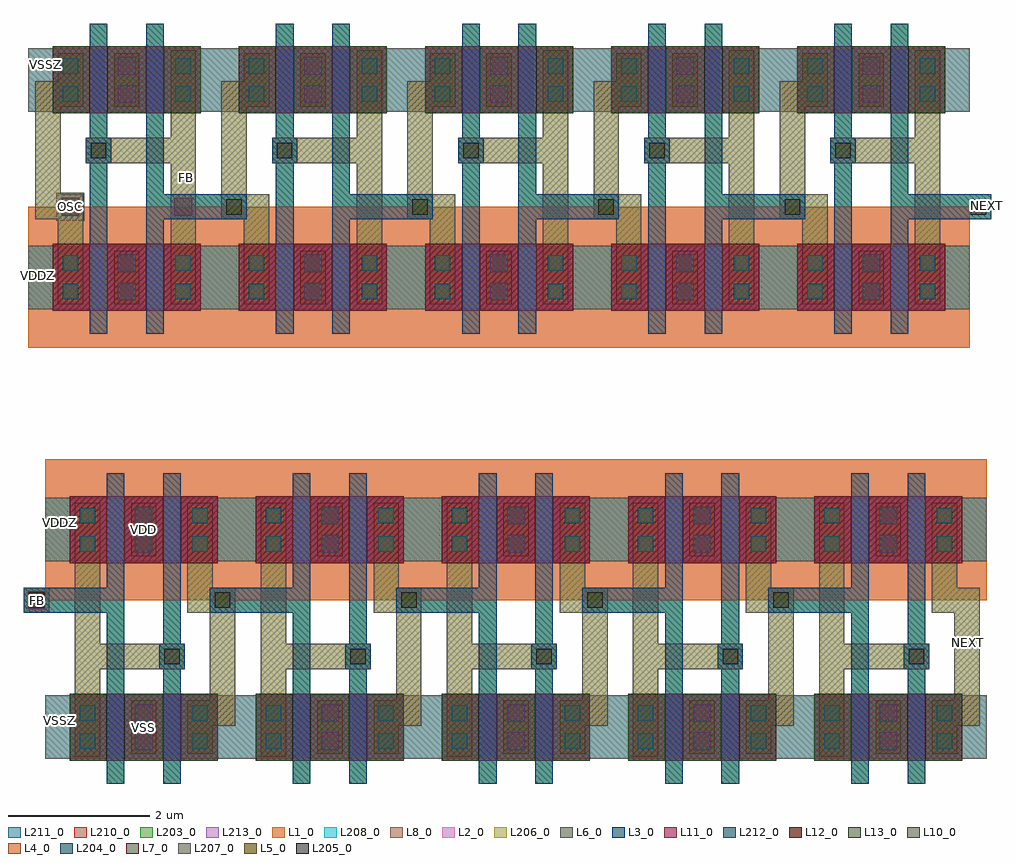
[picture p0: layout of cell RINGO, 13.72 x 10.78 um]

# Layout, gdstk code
from math import pi, radians
import gdstk
lib = gdstk.Library(unit=1e-6, precision=1e-09)
def R(c, l, rs):  # rectangles x0, y0, x1, y1
    for r in rs: c.add(gdstk.rectangle(r[:2], r[2:], *l))
def P(c, l, *ps):  # polygons
    for p in ps: c.add(gdstk.Polygon(p, *l))
L1_0 = (1, 0)
L2_0 = (2, 0)
L3_0 = (3, 0)
L4_0 = (4, 0)
L5_0 = (5, 0)
L6_0 = (6, 0)
L7_0 = (7, 0)
L8_0 = (8, 0)
L10_0 = (10, 0)
L11_0 = (11, 0)
L12_0 = (12, 0)
L13_0 = (13, 0)
L203_0 = (203, 0)
L204_0 = (204, 0)
L205_0 = (205, 0)
L206_0 = (206, 0)
L207_0 = (207, 0)
L208_0 = (208, 0)
L210_0 = (210, 0)
L211_0 = (211, 0)
L212_0 = (212, 0)
L213_0 = (213, 0)

net_trans__1 = lib.new_cell('NET_TRANS_$1')
R(net_trans__1, L204_0, [(-0.51,-0.31,-0.29,-0.09), (-0.51,0.09,-0.29,0.31)])
R(net_trans__1, L206_0, [(-0.58,-0.38,-0.22,0.38)])

net_trans__2 = lib.new_cell('NET_TRANS_$2')
R(net_trans__2, L204_0, [(0.29,-0.31,0.51,-0.09), (0.29,0.09,0.51,0.31)])
R(net_trans__2, L206_0, [(0.22,-0.38,0.58,0.38)])

net_trans__3 = lib.new_cell('NET_TRANS_$3')
R(net_trans__3, L203_0, [(-0.125,-0.8,0.125,0.8)])

trans = lib.new_cell('TRANS')
R(trans, L2_0, [(-0.65,-0.475,0.65,0.475)])
R(trans, L4_0, [(-0.51,-0.31,-0.29,-0.09), (0.29,-0.31,0.51,-0.09), (-0.51,0.09,-0.29,0.31), (0.29,0.09,0.51,0.31)])
R(trans, L6_0, [(-0.58,-0.38,-0.22,0.38), (0.22,-0.38,0.58,0.38)])
trans.add(gdstk.FlexPath([(0,-0.8),(0,0.8)], 0.25, ends="flush", simple_path=True, layer=3, datatype=0))  # L3_0
trans.add(gdstk.Reference(net_trans__1, (0,0)))
trans.add(gdstk.Reference(net_trans__2, (0,0)))
trans.add(gdstk.Reference(net_trans__3, (0,0)))

d_nmos = lib.new_cell('D$NMOS')
R(d_nmos, L203_0, [(-0.125,-0.475,0.125,0.475)])
R(d_nmos, L211_0, [(-0.65,-0.475,-0.125,0.475), (0.125,-0.475,0.675,0.475)])
R(d_nmos, L212_0, [(-0.125,-0.475,0.125,0.475)])

d_pmos = lib.new_cell('D$PMOS')
R(d_pmos, L203_0, [(-0.125,-0.475,0.125,0.475)])
R(d_pmos, L210_0, [(-0.65,-0.475,-0.125,0.475), (0.125,-0.475,0.675,0.475)])
R(d_pmos, L213_0, [(-0.125,-0.475,0.125,0.475)])

net_inv2_in = lib.new_cell('NET_INV2_IN')
R(net_inv2_in, L203_0, [(-0.525,-0.25,-0.275,2.25), (-1.7,1.62,-0.4,1.98)])
R(net_inv2_in, L205_0, [(-1.63,1.69,-1.41,1.91)])
net_inv2_in.add(gdstk.Reference(d_nmos, (-0.4,0)))
net_inv2_in.add(gdstk.Reference(d_pmos, (-0.4,2.8)))

d_pmos_1 = lib.new_cell('D$PMOS$1')
R(d_pmos_1, L203_0, [(-0.125,-0.475,0.125,0.475)])
R(d_pmos_1, L210_0, [(-0.675,-0.475,-0.125,0.475), (0.125,-0.475,0.65,0.475)])
R(d_pmos_1, L213_0, [(-0.125,-0.475,0.125,0.475)])

d_nmos_1 = lib.new_cell('D$NMOS$1')
R(d_nmos_1, L203_0, [(-0.125,-0.475,0.125,0.475)])
R(d_nmos_1, L211_0, [(-0.675,-0.475,-0.125,0.475), (0.125,-0.475,0.65,0.475)])
R(d_nmos_1, L212_0, [(-0.125,-0.475,0.125,0.475)])

net_inv2__2 = lib.new_cell('NET_INV2_$2')
R(net_inv2__2, L203_0, [(0.275,-0.25,0.525,2.25), (0.22,0.82,0.58,1.18)])
R(net_inv2__2, L205_0, [(0.29,0.89,0.51,1.11)])
R(net_inv2__2, L206_0, [(-0.98,-0.42,-0.62,2.42), (-0.8,0.82,0.58,1.18)])
R(net_inv2__2, L210_0, [(-1.05,2.325,-0.525,3.275)])
R(net_inv2__2, L211_0, [(-1.05,-0.475,-0.525,0.475)])
net_inv2__2.add(gdstk.Reference(d_pmos_1, (0.4,2.8)))
net_inv2__2.add(gdstk.Reference(d_nmos_1, (0.4,0)))
net_inv2__2.add(gdstk.Reference(d_pmos, (-0.4,2.8)))
net_inv2__2.add(gdstk.Reference(d_nmos, (-0.4,0)))

net_inv2_out = lib.new_cell('NET_INV2_OUT')
P(net_inv2_out, L206_0, [(0.8,0.02),(0.8,0.38),(0.94,0.38),(0.94,1.62),(0.62,1.62),(0.62,2.42),(0.98,2.42),(0.98,1.98),(1.3,1.98),(1.3,0.02)])
R(net_inv2_out, L210_0, [(0.525,2.325,1.05,3.275)])
R(net_inv2_out, L211_0, [(0.525,-0.475,1.05,0.475)])
net_inv2_out.add(gdstk.Reference(d_pmos_1, (0.4,2.8)))
net_inv2_out.add(gdstk.Reference(d_nmos_1, (0.4,0)))

net_inv2_vdd = lib.new_cell('NET_INV2_VDD')
R(net_inv2_vdd, L207_0, [(-0.125,2.475,0.125,2.725), (-0.125,2.875,0.125,3.125)])
R(net_inv2_vdd, L208_0, [(-1.4,2.35,1.4,3.25), (-1.171,2.749,-1.169,2.751)])
R(net_inv2_vdd, L210_0, [(-0.275,2.325,0.275,3.275)])
R(net_inv2_vdd, L213_0, [(-1.4,1.8,1.4,3.8)])
net_inv2_vdd.add(gdstk.Reference(d_pmos, (-0.4,2.8)))
net_inv2_vdd.add(gdstk.Reference(d_pmos_1, (0.4,2.8)))
net_inv2_vdd.add(gdstk.Reference(d_pmos, (-0.4,2.8)))
net_inv2_vdd.add(gdstk.Reference(d_pmos_1, (0.4,2.8)))

net_inv2_vss = lib.new_cell('NET_INV2_VSS')
R(net_inv2_vss, L207_0, [(-0.125,-0.325,0.125,-0.075), (-0.125,0.075,0.125,0.325)])
R(net_inv2_vss, L208_0, [(-1.4,-0.45,1.4,0.45), (-1.181,0.019,-1.179,0.021)])
R(net_inv2_vss, L211_0, [(-0.275,-0.475,0.275,0.475)])
net_inv2_vss.add(gdstk.Reference(d_nmos, (-0.4,0)))
net_inv2_vss.add(gdstk.Reference(d_nmos_1, (0.4,0)))
net_inv2_vss.add(gdstk.Reference(d_nmos, (-0.4,0)))
net_inv2_vss.add(gdstk.Reference(d_nmos_1, (0.4,0)))

inv2 = lib.new_cell('INV2')
R(inv2, L1_0, [(-1.4,1.8,1.4,3.8)])
R(inv2, L3_0, [(-0.525,-0.25,-0.275,2.25), (0.275,-0.25,0.525,2.25), (0.22,0.82,0.58,1.18), (-1.7,1.62,-0.4,1.98)])
R(inv2, L5_0, [(0.29,0.89,0.51,1.11), (-1.63,1.69,-1.41,1.91)])
R(inv2, L6_0, [(-0.98,-0.42,-0.62,2.42), (-0.8,0.82,0.58,1.18)])
R(inv2, L7_0, [(-0.125,-0.325,0.125,-0.075), (-0.125,0.075,0.125,0.325), (-0.125,2.475,0.125,2.725), (-0.125,2.875,0.125,3.125)])
R(inv2, L8_0, [(-1.4,-0.45,1.4,0.45), (-1.4,2.35,1.4,3.25)])
R(inv2, L10_0, [(-0.525,-0.475,-0.275,0.475), (0.275,-0.475,0.525,0.475), (-0.525,2.325,-0.275,3.275), (0.275,2.325,0.525,3.275)])
R(inv2, L11_0, [(-1.05,-0.475,-0.525,0.475), (-0.275,-0.475,0.275,0.475), (0.525,-0.475,1.05,0.475), (-1.05,2.325,-0.525,3.275), (-0.275,2.325,0.275,3.275), (0.525,2.325,1.05,3.275)])
R(inv2, L12_0, [(-1.05,2.325,-0.525,3.275), (-0.275,2.325,0.275,3.275), (0.525,2.325,1.05,3.275)])
R(inv2, L13_0, [(-1.05,-0.475,-0.525,0.475), (-0.275,-0.475,0.275,0.475), (0.525,-0.475,1.05,0.475)])
inv2.add(gdstk.FlexPath([(0.8,0.2),(1.12,0.2),(1.12,1.8),(0.8,1.8),(0.8,2.42)], 0.36, ends="flush", simple_path=True, layer=6, datatype=0))  # L6_0
inv2.add(gdstk.Reference(trans, (-0.4,0)))
inv2.add(gdstk.Reference(trans, (-0.4,2.8)))
inv2.add(gdstk.Reference(trans, (0.4,0), x_reflection=True))
inv2.add(gdstk.Reference(trans, (0.4,2.8), x_reflection=True))
inv2.add(gdstk.Reference(net_inv2_in, (0,0)))
inv2.add(gdstk.Reference(net_inv2__2, (0,0)))
inv2.add(gdstk.Reference(net_inv2_out, (0,0)))
inv2.add(gdstk.Reference(net_inv2_vdd, (0,0)))
inv2.add(gdstk.Reference(net_inv2_vss, (0,0)))
inv2.add(gdstk.Reference(d_pmos, (-0.4,2.8)))
inv2.add(gdstk.Reference(d_pmos_1, (0.4,2.8)))
inv2.add(gdstk.Reference(d_nmos, (-0.4,0)))
inv2.add(gdstk.Reference(d_nmos_1, (0.4,0)))
inv2.add(gdstk.Label('IN', (-0.8,1.8), layer=3, texttype=1))
inv2.add(gdstk.Label('OUT', (0.8,1.8), layer=6, texttype=1))
inv2.add(gdstk.Label('VDD', (-1.17,2.75), layer=8, texttype=0))
inv2.add(gdstk.Label('VSS', (-1.18,0.02), layer=8, texttype=0))

net_ringo_fb = lib.new_cell('NET_RINGO_FB')
R(net_ringo_fb, L206_0, [(-1.7,1.62,-1.34,1.98), (-1.501,1.799,-1.499,1.801), (0.599,7.799,0.601,7.801)])
R(net_ringo_fb, L207_0, [(-1.645,1.675,-1.395,1.925), (0.435,7.255,0.685,7.505)])

net_ringo_osc = lib.new_cell('NET_RINGO_OSC')
R(net_ringo_osc, L207_0, [(-1.165,7.255,-0.915,7.505)])
R(net_ringo_osc, L208_0, [(-1.24,7.18,-0.84,7.58)])

net_ringo_next = lib.new_cell('NET_RINGO_NEXT')
R(net_ringo_next, L203_0, [(11.949,7.399,11.951,7.401)])
R(net_ringo_next, L206_0, [(11.679,1.199,11.681,1.201)])

net_ringo_vdd_vddz = lib.new_cell('NET_RINGO_VDD,VDDZ')
R(net_ringo_vdd_vddz, L208_0, [(-1.201,2.899,-1.199,2.901), (-1.501,6.399,-1.499,6.401)])

net_ringo_vss_vssz = lib.new_cell('NET_RINGO_VSS,VSSZ')
R(net_ringo_vss_vssz, L208_0, [(-1.201,0.099,-1.199,0.101), (-1.401,9.399,-1.399,9.401)])

ringo = lib.new_cell('RINGO')
R(ringo, L6_0, [(-1.7,1.62,-1.34,1.98)])
R(ringo, L7_0, [(-1.645,1.675,-1.395,1.925), (-1.165,7.255,-0.915,7.505), (0.435,7.255,0.685,7.505)])
R(ringo, L8_0, [(-1.24,7.18,-0.84,7.58)])
ringo.add(gdstk.Reference(inv2, (0,0)))
ringo.add(gdstk.Reference(inv2, (2.64,0)))
ringo.add(gdstk.Reference(inv2, (5.28,0)))
ringo.add(gdstk.Reference(inv2, (7.92,0)))
ringo.add(gdstk.Reference(inv2, (10.56,0)))
ringo.add(gdstk.Reference(inv2, (10.32,9.18), rotation=pi))
ringo.add(gdstk.Reference(inv2, (7.68,9.18), rotation=pi))
ringo.add(gdstk.Reference(inv2, (5.04,9.18), rotation=pi))
ringo.add(gdstk.Reference(inv2, (2.4,9.18), rotation=pi))
ringo.add(gdstk.Reference(inv2, (-0.24,9.18), rotation=pi))
ringo.add(gdstk.Reference(net_ringo_fb, (0,0)))
ringo.add(gdstk.Reference(net_ringo_osc, (0,0)))
ringo.add(gdstk.Reference(net_ringo_next, (0,0)))
ringo.add(gdstk.Reference(net_ringo_vdd_vddz, (0,0)))
ringo.add(gdstk.Reference(net_ringo_vss_vssz, (0,0)))
ringo.add(gdstk.Label('NEXT', (11.95,7.4), layer=3, texttype=0))
ringo.add(gdstk.Label('FB', (-1.5,1.8), layer=6, texttype=0))
ringo.add(gdstk.Label('FB', (0.6,7.8), layer=6, texttype=0))
ringo.add(gdstk.Label('NEXT', (11.68,1.2), layer=6, texttype=0))
ringo.add(gdstk.Label('VSSZ', (-1.4,9.4), layer=8, texttype=0))
ringo.add(gdstk.Label('VDDZ', (-1.5,6.4), layer=8, texttype=0))
ringo.add(gdstk.Label('VDDZ', (-1.2,2.9), layer=8, texttype=0))
ringo.add(gdstk.Label('VSSZ', (-1.2,0.1), layer=8, texttype=0))
ringo.add(gdstk.Label('OSC', (-1.04,7.38), layer=8, texttype=1))
ringo.add(gdstk.Label('VSS', (0,0), layer=8, texttype=1))
ringo.add(gdstk.Label('VDD', (0,2.8), layer=8, texttype=1))

lib.write_gds('RINGO.gds')
